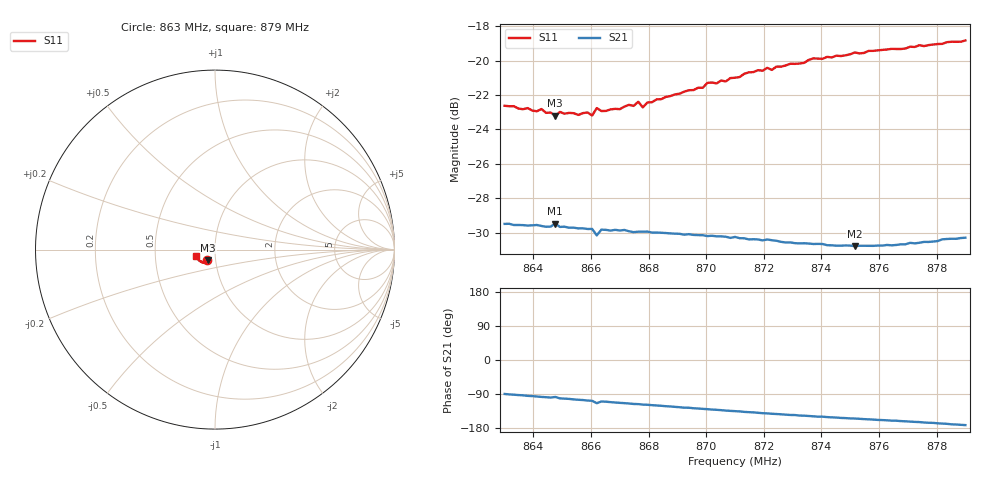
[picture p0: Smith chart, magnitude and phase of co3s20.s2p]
# HZ S RI R 50
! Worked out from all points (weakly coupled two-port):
!   101 points, 863 MHz to 879 MHz, reference 50 ohm
!   highest |S21| = -29.48 dB at 864.76 MHz (marker M1); lowest = -30.8 dB at 875.16 MHz (marker M2)
!   lowest |S11| = -23.2 dB at 864.76 MHz (marker M3), VSWR 1.15, Z = 46.1 - j5.37 ohm
!   |S11| at or under -10 dB: start of sweep to end of sweep
!   S12 and S22 are empty: the file has one direction only
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8.63e8  -0.0455 -0.0582  0.000233 -0.0335  0 0  0 0
8.6412e8  -0.0421 -0.0575  -0.0037 -0.0331  0 0  0 0
8.6428e8  -0.0418 -0.059  -0.00428 -0.0328  0 0  0 0
8.6476e8  -0.0377 -0.058  -0.00439 -0.0333  0 0  0 0
8.6492e8  -0.0403 -0.0584  -0.00641 -0.0322  0 0  0 0
8.6572e8  -0.0381 -0.0591  -0.0088 -0.0313  0 0  0 0
8.6604e8  -0.0368 -0.0587  -0.00986 -0.0309  0 0  0 0
8.662e8  -0.0413 -0.0599  -0.0126 -0.0284  0 0  0 0
8.6636e8  -0.0389 -0.0598  -0.0107 -0.0304  0 0  0 0
8.6748e8  -0.0377 -0.0634  -0.0139 -0.0285  0 0  0 0
8.6764e8  -0.0395 -0.0648  -0.0141 -0.0285  0 0  0 0
8.678e8  -0.038 -0.0625  -0.0148 -0.0282  0 0  0 0
8.6796e8  -0.0386 -0.0649  -0.015 -0.0281  0 0  0 0
8.6844e8  -0.0401 -0.066  -0.0162 -0.0271  0 0  0 0
8.6988e8  -0.0442 -0.0706  -0.0195 -0.0242  0 0  0 0
8.7004e8  -0.0473 -0.0719  -0.0198 -0.0238  0 0  0 0
8.7036e8  -0.0476 -0.0714  -0.0204 -0.0232  0 0  0 0
8.71e8  -0.0519 -0.0725  -0.0217 -0.0217  0 0  0 0
8.7372e8  -0.0723 -0.0712  -0.025 -0.0153  0 0  0 0
8.7516e8  -0.0833 -0.0649  -0.0261 -0.0125  0 0  0 0
8.7644e8  -0.0916 -0.0574  -0.0273 -0.00992  0 0  0 0
8.79e8  -0.1082 -0.0371  -0.0303 -0.00436  0 0  0 0
